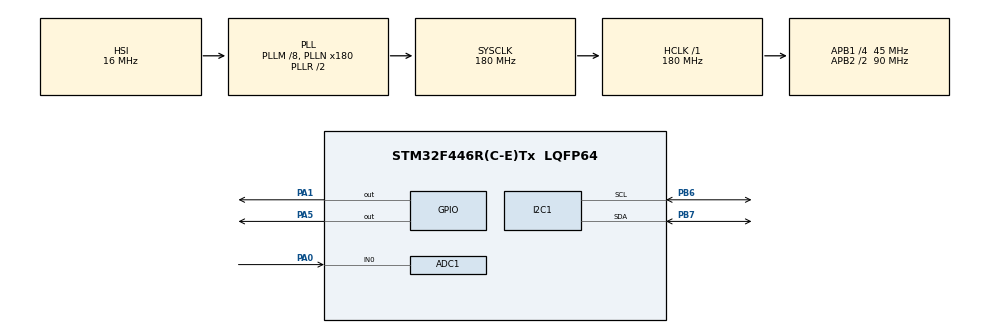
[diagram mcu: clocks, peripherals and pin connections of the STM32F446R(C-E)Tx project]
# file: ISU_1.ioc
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ADC1.Channel-1\#ChannelRegularConversion=ADC_CHANNEL_0
ADC1.ContinuousConvMode=ENABLE
ADC1.NbrOfConversion=1
ADC1.NbrOfConversionFlag=1
ADC1.Rank-1\#ChannelRegularConversion=1
ADC1.SamplingTime-1\#ChannelRegularConversion=ADC_SAMPLETIME_3CYCLES
ADC1.master=1
Dma.ADC1.0.Direction=DMA_PERIPH_TO_MEMORY
Dma.ADC1.0.FIFOMode=DMA_FIFOMODE_DISABLE
Dma.ADC1.0.Instance=DMA2_Stream0
Dma.ADC1.0.MemDataAlignment=DMA_MDATAALIGN_WORD
Dma.ADC1.0.MemInc=DMA_MINC_ENABLE
Dma.ADC1.0.Mode=DMA_CIRCULAR
Dma.ADC1.0.PeriphDataAlignment=DMA_PDATAALIGN_WORD
Dma.ADC1.0.PeriphInc=DMA_PINC_DISABLE
Dma.ADC1.0.Priority=DMA_PRIORITY_LOW
Dma.Request0=ADC1
I2C1.I2C_Mode=I2C_Fast
Mcu.Family=STM32F4
Mcu.Name=STM32F446R(C-E)Tx
Mcu.Package=LQFP64
NVIC.DMA2_Stream0_IRQn=true\:0\:0\:false\:false\:true\:false\:true\:true
NVIC.PriorityGroup=NVIC_PRIORITYGROUP_0
NVIC.RCC_IRQn=true\:0\:0\:false\:false\:true\:true\:false\:true
PA0-WKUP.Signal=ADCx_IN0
PA1.Signal=GPIO_Output
PA13.Mode=Serial_Wire
PA13.Signal=SYS_JTMS-SWDIO
PA14.Mode=Serial_Wire
PA14.Signal=SYS_JTCK-SWCLK
PA5.Signal=GPIO_Output
PB6.Mode=I2C
PB6.Signal=I2C1_SCL
PB7.Mode=I2C
PB7.Signal=I2C1_SDA
PC14-OSC32_IN.Mode=LSE-External-Oscillator
PC14-OSC32_IN.Signal=RCC_OSC32_IN
PC15-OSC32_OUT.Mode=LSE-External-Oscillator
PC15-OSC32_OUT.Signal=RCC_OSC32_OUT
PH0-OSC_IN.Mode=HSE-External-Oscillator
PH0-OSC_IN.Signal=RCC_OSC_IN
PH1-OSC_OUT.Mode=HSE-External-Oscillator
PH1-OSC_OUT.Signal=RCC_OSC_OUT
ProjectManager.HeapSize=0x200
ProjectManager.StackSize=0x400
ProjectManager.TargetToolchain=STM32CubeIDE
RCC.48MHZClocksFreq_Value=84000000
RCC.AHBFreq_Value=180000000
RCC.APB1CLKDivider=RCC_HCLK_DIV4
RCC.APB1Freq_Value=45000000
RCC.APB1TimFreq_Value=90000000
RCC.APB2CLKDivider=RCC_HCLK_DIV2
RCC.APB2Freq_Value=90000000
RCC.APB2TimFreq_Value=180000000
RCC.CortexFreq_Value=180000000
RCC.FLatency-AdvancedSettings=FLASH_LATENCY_5
RCC.HCLKFreq_Value=180000000
RCC.HSE_VALUE=8000000
RCC.HSI_VALUE=16000000
RCC.PLLM=8
RCC.PLLN=180
RCC.SYSCLKFreq_VALUE=180000000
RCC.SYSCLKSource=RCC_SYSCLKSOURCE_PLLRCLK
RCC.USBFreq_Value=180000000
RCC.VCOOutputFreq_Value=360000000
SH.ADCx_IN0.0=ADC1_IN0,IN0
board=NUCLEO-F446RE

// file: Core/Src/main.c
/* USER CODE BEGIN Header */
/**
  ******************************************************************************
  * @file           : main.c
  * @brief          : Main program body
  ******************************************************************************
  * @attention
  *
  * Copyright (c) 2023 STMicroelectronics.
  * All rights reserved.
  *
  * This software is licensed under terms that can be found in the LICENSE file
  * in the root directory of this software component.
  * If no LICENSE file comes with this software, it is provided AS-IS.
  *
  ******************************************************************************
  */
/* USER CODE END Header */
#include "main.h"

/* USER CODE BEGIN Includes */
#include "DHT.h"
#include "BMP180.h"
#include "stdio.h"
/* USER CODE END Includes */

ADC_HandleTypeDef hadc1;
DMA_HandleTypeDef hdma_adc1;

I2C_HandleTypeDef hi2c1;

/* USER CODE BEGIN PV */
//DMA
uint16_t val[1];

//current_sensor 5A
uint16_t readValue;
float rawVoltage;
float current;
float sensitivity = 0.185;
float adc_err=1.052;

//DHT22 Temperature Sensor
DHT_DataTypedef DHT11_Data;
float Temperature1, Humidity;

//Barometer_Sensor
float Temperature2;
float Pressure;
float Altitude;
/* USER CODE END PV */

void SystemClock_Config(void);
static void MX_GPIO_Init(void);
static void MX_DMA_Init(void);
static void MX_ADC1_Init(void);
static void MX_I2C1_Init(void);

int main(void)
{

  /* MCU Configuration--------------------------------------------------------*/

  /* Reset of all peripherals, Initializes the Flash interface and the Systick. */
  HAL_Init();

  /* Configure the system clock */
  SystemClock_Config();

  /* Initialize all configured peripherals */
  MX_GPIO_Init();
  MX_DMA_Init();
  MX_ADC1_Init();
  MX_I2C1_Init();
  /* USER CODE BEGIN 2 */
BMP180_Start();
HAL_ADC_Start_DMA(&hadc1, val, 1);
void current_sensor()
{
	  readValue = val[0];
	  rawVoltage = ((float) readValue * 3.3) / 4095 *adc_err;
	  current =(2.5 - rawVoltage)/sensitivity;
}
void dht22_sensor()
{
	DHT_GetData(&DHT11_Data);
	Temperature1 =((float)DHT11_Data.Temperature)/10.0;
	Humidity = ((float)DHT11_Data.Humidity)/10.0;
}
void barometer_sensor()
{
	  Temperature2 = BMP180_GetTemp();
	  Pressure = BMP180_GetPress(0);
	  Altitude = BMP180_GetAlt(0);
}
  /* USER CODE END 2 */

  /* Infinite loop */
  while (1)
  {

    /* USER CODE BEGIN 3 */
	  current_sensor();
	  //dht22_sensor();
	  barometer_sensor();
	  HAL_Delay(1000);
  }
  /* USER CODE END 3 */
}

void SystemClock_Config(void)
{
  RCC_OscInitTypeDef RCC_OscInitStruct = {0};
  RCC_ClkInitTypeDef RCC_ClkInitStruct = {0};

  /** Configure the main internal regulator output voltage
  */
  __HAL_RCC_PWR_CLK_ENABLE();
  __HAL_PWR_VOLTAGESCALING_CONFIG(PWR_REGULATOR_VOLTAGE_SCALE1);

  /** Initializes the RCC Oscillators according to the specified parameters
  * in the RCC_OscInitTypeDef structure.
  */
  RCC_OscInitStruct.OscillatorType = RCC_OSCILLATORTYPE_HSI;
  RCC_OscInitStruct.HSIState = RCC_HSI_ON;
  RCC_OscInitStruct.HSICalibrationValue = RCC_HSICALIBRATION_DEFAULT;
  RCC_OscInitStruct.PLL.PLLState = RCC_PLL_ON;
  RCC_OscInitStruct.PLL.PLLSource = RCC_PLLSOURCE_HSI;
  RCC_OscInitStruct.PLL.PLLM = 8;
  RCC_OscInitStruct.PLL.PLLN = 180;
  RCC_OscInitStruct.PLL.PLLP = RCC_PLLP_DIV2;
  RCC_OscInitStruct.PLL.PLLQ = 2;
  RCC_OscInitStruct.PLL.PLLR = 2;
  if (HAL_RCC_OscConfig(&RCC_OscInitStruct) != HAL_OK)
  {
    Error_Handler();
  }

  /** Activate the Over-Drive mode
  */
  if (HAL_PWREx_EnableOverDrive() != HAL_OK)
  {
    Error_Handler();
  }

  /** Initializes the CPU, AHB and APB buses clocks
  */
  RCC_ClkInitStruct.ClockType = RCC_CLOCKTYPE_HCLK|RCC_CLOCKTYPE_SYSCLK
                              |RCC_CLOCKTYPE_PCLK1|RCC_CLOCKTYPE_PCLK2;
  RCC_ClkInitStruct.SYSCLKSource = RCC_SYSCLKSOURCE_PLLRCLK;
  RCC_ClkInitStruct.AHBCLKDivider = RCC_SYSCLK_DIV1;
  RCC_ClkInitStruct.APB1CLKDivider = RCC_HCLK_DIV4;
  RCC_ClkInitStruct.APB2CLKDivider = RCC_HCLK_DIV2;

  if (HAL_RCC_ClockConfig(&RCC_ClkInitStruct, FLASH_LATENCY_5) != HAL_OK)
  {
    Error_Handler();
  }
}

static void MX_ADC1_Init(void)
{

  ADC_ChannelConfTypeDef sConfig = {0};

  /** Configure the global features of the ADC (Clock, Resolution, Data Alignment and number of conversion)
  */
  hadc1.Instance = ADC1;
  hadc1.Init.ClockPrescaler = ADC_CLOCK_SYNC_PCLK_DIV4;
  hadc1.Init.Resolution = ADC_RESOLUTION_12B;
  hadc1.Init.ScanConvMode = DISABLE;
  hadc1.Init.ContinuousConvMode = ENABLE;
  hadc1.Init.DiscontinuousConvMode = DISABLE;
  hadc1.Init.ExternalTrigConvEdge = ADC_EXTERNALTRIGCONVEDGE_NONE;
  hadc1.Init.ExternalTrigConv = ADC_SOFTWARE_START;
  hadc1.Init.DataAlign = ADC_DATAALIGN_RIGHT;
  hadc1.Init.NbrOfConversion = 1;
  hadc1.Init.DMAContinuousRequests = DISABLE;
  hadc1.Init.EOCSelection = ADC_EOC_SINGLE_CONV;
  if (HAL_ADC_Init(&hadc1) != HAL_OK)
  {
    Error_Handler();
  }

  /** Configure for the selected ADC regular channel its corresponding rank in the sequencer and its sample time.
  */
  sConfig.Channel = ADC_CHANNEL_0;
  sConfig.Rank = 1;
  sConfig.SamplingTime = ADC_SAMPLETIME_3CYCLES;
  if (HAL_ADC_ConfigChannel(&hadc1, &sConfig) != HAL_OK)
  {
    Error_Handler();
  }

}

static void MX_I2C1_Init(void)
{

  hi2c1.Instance = I2C1;
  hi2c1.Init.ClockSpeed = 400000;
  hi2c1.Init.DutyCycle = I2C_DUTYCYCLE_2;
  hi2c1.Init.OwnAddress1 = 0;
  hi2c1.Init.AddressingMode = I2C_ADDRESSINGMODE_7BIT;
  hi2c1.Init.DualAddressMode = I2C_DUALADDRESS_DISABLE;
  hi2c1.Init.OwnAddress2 = 0;
  hi2c1.Init.GeneralCallMode = I2C_GENERALCALL_DISABLE;
  hi2c1.Init.NoStretchMode = I2C_NOSTRETCH_DISABLE;
  if (HAL_I2C_Init(&hi2c1) != HAL_OK)
  {
    Error_Handler();
  }

}

static void MX_DMA_Init(void)
{

  /* DMA controller clock enable */
  __HAL_RCC_DMA2_CLK_ENABLE();

  /* DMA interrupt init */
  /* DMA2_Stream0_IRQn interrupt configuration */
  HAL_NVIC_SetPriority(DMA2_Stream0_IRQn, 0, 0);
  HAL_NVIC_EnableIRQ(DMA2_Stream0_IRQn);

}

static void MX_GPIO_Init(void)
{
  GPIO_InitTypeDef GPIO_InitStruct = {0};

  /* GPIO Ports Clock Enable */
  __HAL_RCC_GPIOC_CLK_ENABLE();
  __HAL_RCC_GPIOH_CLK_ENABLE();
  __HAL_RCC_GPIOA_CLK_ENABLE();
  __HAL_RCC_GPIOB_CLK_ENABLE();

  /*Configure GPIO pin Output Level */
  HAL_GPIO_WritePin(GPIOA, GPIO_PIN_1|GPIO_PIN_5, GPIO_PIN_RESET);

  /*Configure GPIO pins : PA1 PA5 */
  GPIO_InitStruct.Pin = GPIO_PIN_1|GPIO_PIN_5;
  GPIO_InitStruct.Mode = GPIO_MODE_OUTPUT_PP;
  GPIO_InitStruct.Pull = GPIO_NOPULL;
  GPIO_InitStruct.Speed = GPIO_SPEED_FREQ_LOW;
  HAL_GPIO_Init(GPIOA, &GPIO_InitStruct);

}

void Error_Handler(void)
{
  __disable_irq();
  while (1)
  {
  }
}
